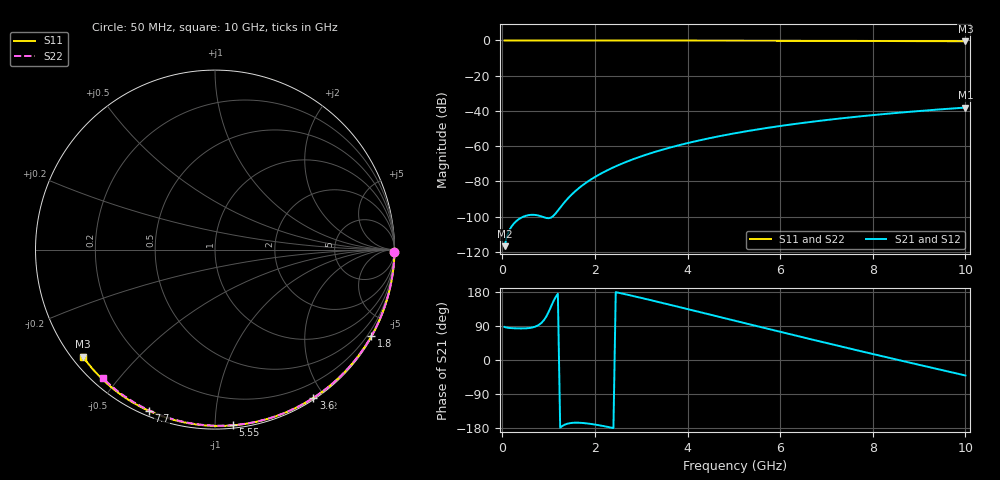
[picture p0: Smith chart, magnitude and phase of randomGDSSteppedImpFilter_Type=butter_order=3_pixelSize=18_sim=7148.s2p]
! freq	dB(S11)	phase(S11)	dB(S12)	phase(S12)
!  dB(S21)	phase(S21)	dB(S22)	phase(S22)
!S-par simulation data
#  GHz  S  DB  R 50
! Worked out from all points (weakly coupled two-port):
!   200 points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, 50 MHz to 10 GHz, reference 50 ohm
!   highest |S21| = -38.07 dB at 10 GHz (marker M1); lowest = -116.7 dB at 50 MHz (marker M2)
!   lowest |S11| = -0.5 dB at 10 GHz (marker M3), VSWR 36.87, Z = 1.53 - j17.7 ohm
!   |S11| at or under -10 dB: nowhere
!   |S22| runs from -0.4 to 0.0 dB; largest |S21 - S12| = 0
!   S11 on the Smith chart (normalised r, x): 50 MHz: open; 1.8 GHz: 0.03, -3.88; 3.6 GHz: 0.02, -1.86; 5.55 GHz: 0.02, -1.11; 7.7 GHz: 0.02, -0.67; 10 GHz: 0.03, -0.35
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0.05  -0.00 -0.8  -116.69 87.2  -116.69 87.2  -0.00 -0.8
0.45  -0.01 -7.3  -100.01 83.3  -100.01 83.3  -0.01 -6.8
0.9  -0.02 -14.6  -100.31 105.4  -100.31 105.4  -0.02 -13.6
1.75  -0.04 -28.1  -81.80 -166.3  -81.80 -166.3  -0.03 -26.2
1.8  -0.04 -28.9  -80.85 -166.9  -80.85 -166.9  -0.03 -26.9
1.85  -0.04 -29.7  -79.95 -167.7  -79.95 -167.7  -0.04 -27.6
2  -0.04 -32.0  -77.46 -170.3  -77.46 -170.3  -0.04 -29.8
2.15  -0.04 -34.4  -75.23 -173.6  -75.23 -173.6  -0.04 -32.0
2.35  -0.05 -37.5  -72.59 -178.4  -72.59 -178.4  -0.04 -34.9
2.55  -0.05 -40.6  -70.23 176.4  -70.23 176.4  -0.05 -37.8
2.95  -0.06 -46.7  -66.19 165.3  -66.19 165.3  -0.06 -43.5
3.4  -0.07 -53.5  -62.40 152.3  -62.40 152.3  -0.07 -49.8
3.6  -0.08 -56.4  -60.91 146.3  -60.91 146.3  -0.07 -52.6
4.3  -0.09 -66.7  -56.41 125.4  -56.41 125.4  -0.09 -62.2
5.05  -0.12 -77.3  -52.51 102.9  -52.51 102.9  -0.11 -72.1
5.55  -0.14 -84.2  -50.30 87.9  -50.30 87.9  -0.13 -78.6
6.1  -0.16 -91.6  -48.15 71.5  -48.15 71.5  -0.15 -85.5
6.7  -0.19 -99.5  -46.07 53.7  -46.07 53.7  -0.18 -92.9
7.7  -0.26 -112.4  -43.12 24.5  -43.12 24.5  -0.24 -104.9
8.35  -0.31 -120.5  -41.49 5.8  -41.49 5.8  -0.29 -112.5
9.2  -0.38 -131.1  -39.61 -18.4  -39.61 -18.4  -0.36 -122.2
10  -0.47 -141.0  -38.07 -40.8  -38.07 -40.8  -0.44 -131.2
